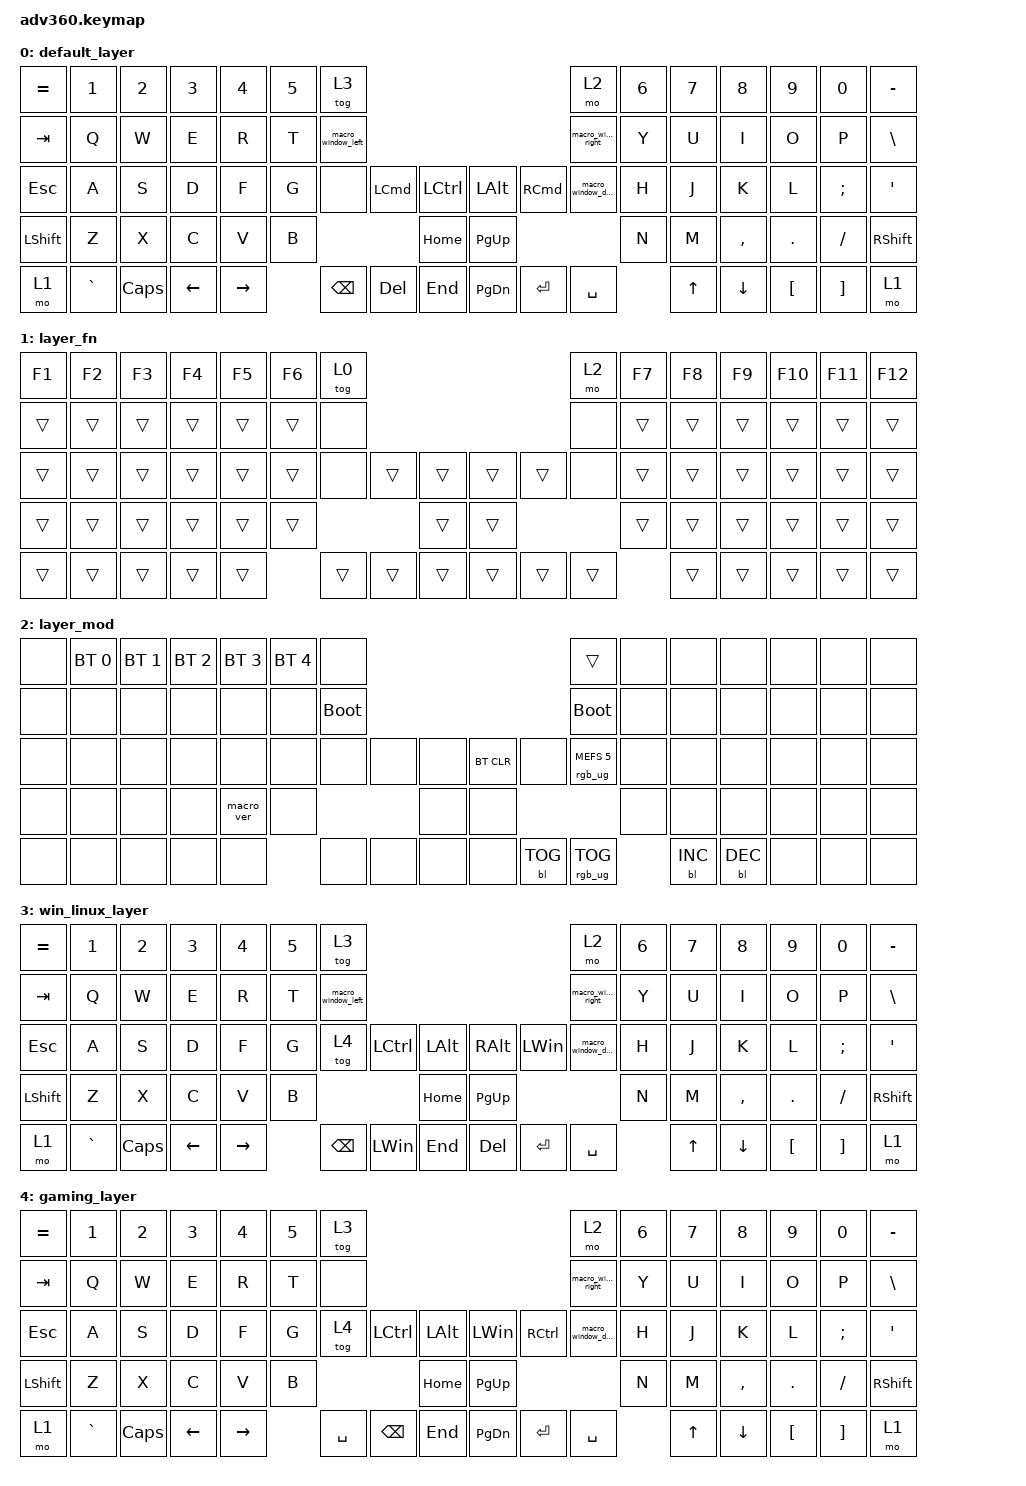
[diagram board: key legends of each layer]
/*
 * Copyright (c) 2020 The ZMK Contributors
 *
 * SPDX-License-Identifier: MIT
 */
/* THIS FILE WAS GENERATED!
 *
 * This file was generated automatically. You may or may not want to
 * edit it directly.
 */

#include <behaviors.dtsi>
#include <dt-bindings/zmk/backlight.h>
#include <dt-bindings/zmk/bt.h>
#include <dt-bindings/zmk/keys.h>
#include <dt-bindings/zmk/rgb.h>

/ {
    behaviors {
        #include "macros.dtsi"
    #include "version.dtsi"

        hm: homerow_mods {
            compatible = "zmk,behavior-hold-tap";
            label = "HOMEROW_MODS";
            #binding-cells = <2>;
            tapping-term-ms = <200>;
            quick_tap_ms = <175>;
            flavor = "tap-preferred";
            bindings = <&kp>, <&kp>;
        };
    };

    keymap {
        compatible = "zmk,keymap";

        default_layer {
            bindings = <
&kp EQUAL  &kp N1     &kp N2    &kp N3    &kp N4     &kp N5  &tog 3                                                             &mo 2                &kp N6  &kp N7  &kp N8     &kp N9    &kp N0    &kp MINUS
&kp TAB    &kp Q      &kp W     &kp E     &kp R      &kp T   &macro_window_left                                                 &macro_window_right  &kp Y   &kp U   &kp I      &kp O     &kp P     &kp BSLH
&kp ESC    &kp A      &kp S     &kp D     &kp F      &kp G   &none               &kp LCMD  &kp LCTRL      &kp LALT   &kp RCMD   &macro_window_down   &kp H   &kp J   &kp K      &kp L     &kp SEMI  &kp SQT
&kp LSHFT  &kp Z      &kp X     &kp C     &kp V      &kp B                                 &kp HOME       &kp PG_UP                                  &kp N   &kp M   &kp COMMA  &kp DOT   &kp FSLH  &kp RSHFT
&mo 1      &kp GRAVE  &kp CAPS  &kp LEFT  &kp RIGHT          &kp BSPC            &kp DEL   &kp END        &kp PG_DN  &kp ENTER  &kp SPACE                    &kp UP  &kp DOWN   &kp LBKT  &kp RBKT  &mo 1
            >;
        };

        layer_fn {
            bindings = <
&kp F1  &kp F2  &kp F3  &kp F4  &kp F5  &kp F6  &tog 0                                      &mo 2   &kp F7  &kp F8  &kp F9  &kp F10  &kp F11  &kp F12
&trans  &trans  &trans  &trans  &trans  &trans  &none                                       &none   &trans  &trans  &trans  &trans   &trans   &trans
&trans  &trans  &trans  &trans  &trans  &trans  &none   &trans  &trans      &trans  &trans  &none   &trans  &trans  &trans  &trans   &trans   &trans
&trans  &trans  &trans  &trans  &trans  &trans                  &trans      &trans                  &trans  &trans  &trans  &trans   &trans   &trans
&trans  &trans  &trans  &trans  &trans          &trans  &trans  &trans      &trans  &trans  &trans          &trans  &trans  &trans   &trans   &trans
            >;
        };

        layer_mod {
            bindings = <
&none  &bt BT_SEL 0  &bt BT_SEL 1  &bt BT_SEL 2  &bt BT_SEL 3  &bt BT_SEL 4  &none                                                  &trans                  &none  &none       &none       &none  &none  &none
&none  &none         &none         &none         &none         &none         &bootloader                                            &bootloader             &none  &none       &none       &none  &none  &none
&none  &none         &none         &none         &none         &none         &none        &none  &none      &bt BT_CLR  &none       &rgb_ug RGB_MEFS_CMD 5  &none  &none       &none       &none  &none  &none
&none  &none         &none         &none         &macro_ver    &none                             &none      &none                                           &none  &none       &none       &none  &none  &none
&none  &none         &none         &none         &none                       &none        &none  &none      &none       &bl BL_TOG  &rgb_ug RGB_TOG                &bl BL_INC  &bl BL_DEC  &none  &none  &none
            >;
        };

        win_linux_layer {
            bindings = <
&kp EQUAL  &kp N1     &kp N2    &kp N3    &kp N4     &kp N5  &tog 3                                                                               &mo 2                &kp N6  &kp N7  &kp N8     &kp N9    &kp N0    &kp MINUS
&kp TAB    &kp Q      &kp W     &kp E     &kp R      &kp T   &macro_window_left                                                                   &macro_window_right  &kp Y   &kp U   &kp I      &kp O     &kp P     &kp BSLH
&kp ESC    &kp A      &kp S     &kp D     &kp F      &kp G   &tog 4              &kp LEFT_CONTROL  &kp LEFT_ALT      &kp RIGHT_ALT  &kp LEFT_WIN  &macro_window_down   &kp H   &kp J   &kp K      &kp L     &kp SEMI  &kp SQT
&kp LSHFT  &kp Z      &kp X     &kp C     &kp V      &kp B                                         &kp HOME          &kp PG_UP                                         &kp N   &kp M   &kp COMMA  &kp DOT   &kp FSLH  &kp RSHFT
&mo 1      &kp GRAVE  &kp CAPS  &kp LEFT  &kp RIGHT          &kp BSPC            &kp LEFT_WIN      &kp END           &kp DELETE     &kp ENTER     &kp SPACE                    &kp UP  &kp DOWN   &kp LBKT  &kp RBKT  &mo 1
            >;
        };

        gaming_layer {
            bindings = <
&kp EQUAL  &kp N1     &kp N2    &kp N3    &kp N4     &kp N5  &tog 3                                                                          &mo 2                &kp N6  &kp N7  &kp N8     &kp N9    &kp N0    &kp MINUS
&kp TAB    &kp Q      &kp W     &kp E     &kp R      &kp T   &none                                                                           &macro_window_right  &kp Y   &kp U   &kp I      &kp O     &kp P     &kp BSLH
&kp ESC    &kp A      &kp S     &kp D     &kp F      &kp G   &tog 4     &kp LEFT_CONTROL  &kp LEFT_ALT      &kp LEFT_WIN  &kp RIGHT_CONTROL  &macro_window_down   &kp H   &kp J   &kp K      &kp L     &kp SEMI  &kp SQT
&kp LSHFT  &kp Z      &kp X     &kp C     &kp V      &kp B                                &kp HOME          &kp PG_UP                                             &kp N   &kp M   &kp COMMA  &kp DOT   &kp FSLH  &kp RSHFT
&mo 1      &kp GRAVE  &kp CAPS  &kp LEFT  &kp RIGHT          &kp SPACE  &kp BACKSPACE     &kp END           &kp PG_DN     &kp ENTER          &kp SPACE                    &kp UP  &kp DOWN   &kp LBKT  &kp RBKT  &mo 1
            >;
        };
    };
};
